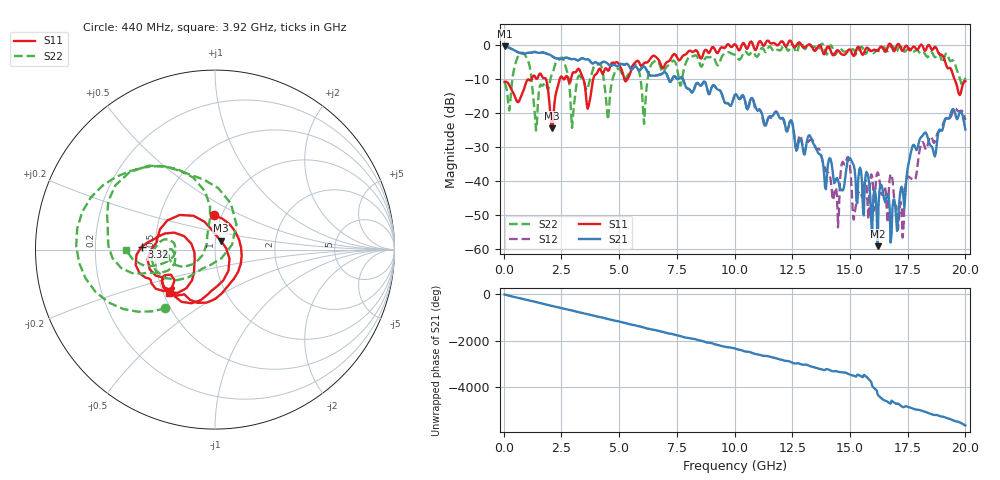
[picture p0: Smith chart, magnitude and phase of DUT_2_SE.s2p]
# MHz S DB R 50
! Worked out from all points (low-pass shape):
!   500 points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, 40 MHz to 20 GHz, reference 50 ohm
!   highest |S21| = -0.29 dB at 40 MHz (marker M1); lowest = -59.2 dB at 16.2 GHz (marker M2)
!   |S21| within 3 dB of the highest: start of sweep to 2.106 GHz
!   lowest |S11| = -24.5 dB at 2.08 GHz (marker M3), VSWR 1.13, Z = 53 + j5.38 ohm
!   |S11| at or under -10 dB: start of sweep to 1.206 GHz; 1.827 GHz to 2.429 GHz (601.6 MHz wide, 28.3 % of centre); 19.53 GHz to end of sweep (the widest 3 of 7)
!   |S22| runs from -25.1 to 0.9 dB; largest |S21 - S12| = 0.044
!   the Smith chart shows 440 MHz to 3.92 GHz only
!   S11 on the Smith chart (normalised r, x): 440 MHz: 0.92, +0.37; 3.32 GHz: 0.42, +0.02; 3.92 GHz: 0.53, -0.29
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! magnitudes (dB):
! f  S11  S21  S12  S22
! 40 MHz  -10.8  -0.3  -0.3  -11.0
! 440 MHz  -14.4  -1.4  -1.4  -7.4
! 1 GHz  -10.5  -2.3  -2.3  -3.8
! 1.4 GHz  -9.8  -2.1  -2.1  -25.1
! 2.08 GHz  -24.5  -3.2  -3.1  -8.7
! 2.56 GHz  -9.7  -3.9  -4.0  -3.8
! 3 GHz  -8.1  -4.1  -4.1  -21.0
! 3.32 GHz  -7.8  -4.1  -4.1  -9.2
! 3.4 GHz  -9.1  -3.9  -3.8  -9.9
! 3.92 GHz  -9.1  -5.1  -5.2  -6.1
! 6.08 GHz  -5.3  -6.3  -6.3  -23.2
! 6.72 GHz  -4.4  -8.7  -8.7  -5.1
! 10.04 GHz  0.2  -14.4  -14.6  -3.0
! 13.36 GHz  -0.6  -28.2  -27.8  -0.5
! 14.44 GHz  -1.5  -39.1  -44.7  -1.8
! 14.88 GHz  -1.9  -34.9  -33.1  -1.9
! 15.2 GHz  -3.0  -36.5  -49.6  -1.6
! 16.2 GHz  -1.6  -59.2  -37.5  -1.4
! 16.68 GHz  0.2  -44.8  -43.3  -1.5
! 17.24 GHz  -1.5  -41.7  -48.2  -0.7
! 18.16 GHz  -0.4  -26.6  -28.6  -2.4
! 20 GHz  -10.6  -24.9  -22.0  -9.6
